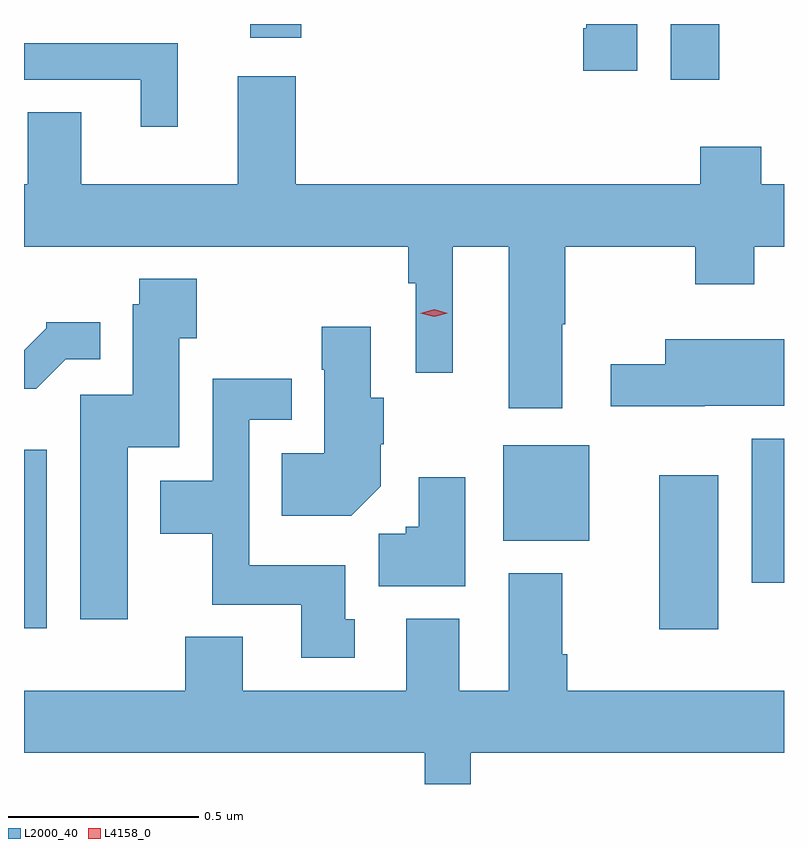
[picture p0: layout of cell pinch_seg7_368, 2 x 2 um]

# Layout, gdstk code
import gdstk
lib = gdstk.Library(unit=1e-6, precision=1e-09)
def R(c, l, rs):  # rectangles x0, y0, x1, y1
    for r in rs: c.add(gdstk.rectangle(r[:2], r[2:], *l))
def P(c, l, *ps):  # polygons
    for p in ps: c.add(gdstk.Polygon(p, *l))
L2000_40 = (2000, 40)
L4158_0 = (4158, 0)

pinch_seg7_368 = lib.new_cell('pinch_seg7_368')
R(pinch_seg7_368, L2000_40, [(371.567,1003.605,371.722,1004.011), (369.895,1003.608,369.955,1004.077), (371.81,1003.728,371.895,1004.107), (371.156,1003.838,371.383,1004.089), (371.597,1005.051,371.725,1005.198), (370.49,1005.162,370.625,1005.198)])
P(pinch_seg7_368, L2000_40, [(371.509,1005.198),(371.374,1005.198),(371.374,1005.187),(371.367,1005.187),(371.367,1005.075),(371.509,1005.075)],
  [(370.3,1005.147),(369.895,1005.147),(369.895,1005.051),(370.202,1005.051),(370.202,1004.928),(370.3,1004.928)],
  [(371.311,1004.408),(371.319,1004.408),(371.319,1004.612),(371.662,1004.612),(371.662,1004.513),(371.817,1004.513),(371.817,1004.612),(371.895,1004.612),(371.895,1004.776),(371.835,1004.776),(371.835,1004.875),(371.675,1004.875),(371.675,1004.776),(370.61,1004.776),(370.61,1005.061),(370.457,1005.061),(370.457,1004.776),(370.045,1004.776),(370.045,1004.966),(369.905,1004.966),(369.905,1004.776),(369.895,1004.776),(369.895,1004.612),(370.906,1004.612),(370.906,1004.516),(370.926,1004.516),(370.926,1004.28),(371.023,1004.28),(371.023,1004.612),(371.171,1004.612),(371.171,1004.187),(371.311,1004.187)],
  [(370.168,1004.084),(370.303,1004.084),(370.303,1004.371),(370.35,1004.371),(370.35,1004.527),(370.198,1004.527),(370.198,1004.46),(370.181,1004.46),(370.181,1004.223),(370.043,1004.223),(370.043,1003.632),(370.168,1003.632)],
  [(370.005,1004.316),(370.096,1004.316),(370.096,1004.413),(369.954,1004.413),(369.954,1004.398),(369.895,1004.339),(369.895,1004.238),(369.927,1004.238)],
  [(370.834,1003.982),(370.834,1004.092),(370.842,1004.092),(370.842,1004.214),(370.807,1004.214),(370.807,1004.401),(370.678,1004.401),(370.678,1004.288),(370.685,1004.288),(370.685,1004.068),(370.573,1004.068),(370.573,1003.904),(370.756,1003.904)],
  [(371.686,1004.193),(371.895,1004.193),(371.895,1004.368),(371.582,1004.368),(371.582,1004.302),(371.439,1004.302),(371.439,1004.192),(371.686,1004.192)],
  [(370.765,1003.632),(370.741,1003.632),(370.741,1003.774),(370.488,1003.774),(370.488,1004.157),(370.6,1004.157),(370.6,1004.265),(370.392,1004.265),(370.392,1003.996),(370.253,1003.996),(370.253,1003.856),(370.39,1003.856),(370.39,1003.67),(370.625,1003.67),(370.625,1003.53),(370.765,1003.53)],
  [(371.056,1004.005),(370.934,1004.005),(370.934,1003.875),(370.899,1003.875),(370.899,1003.856),(370.829,1003.856),(370.829,1003.718),(371.056,1003.718)],
  [(371.071,1003.28),(371.895,1003.28),(371.895,1003.444),(371.324,1003.444),(371.324,1003.54),(371.311,1003.54),(371.311,1003.753),(371.171,1003.753),(371.171,1003.444),(371.041,1003.444),(371.041,1003.633),(370.901,1003.633),(370.901,1003.444),(370.471,1003.444),(370.471,1003.585),(370.319,1003.585),(370.319,1003.444),(369.895,1003.444),(369.895,1003.28),(370.95,1003.28),(370.95,1003.198),(371.071,1003.198)])
P(pinch_seg7_368, L4158_0, [(370.974,1004.427),(370.938,1004.437),(370.938,1004.437),(370.938,1004.437),(370.974,1004.447),(371.01,1004.437),(371.01,1004.437),(371.01,1004.437)])

lib.write_gds('pinch_seg7_368.gds')
